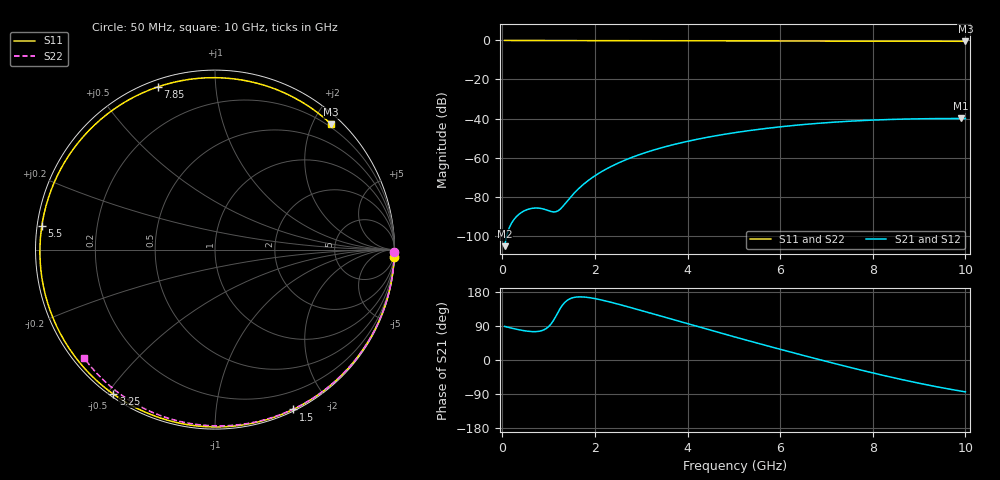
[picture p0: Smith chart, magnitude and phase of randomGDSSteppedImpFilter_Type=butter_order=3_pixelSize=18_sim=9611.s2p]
! freq	dB(S11)	phase(S11)	dB(S12)	phase(S12)
!  dB(S21)	phase(S21)	dB(S22)	phase(S22)
!S-par simulation data
#  GHz  S  DB  R 50
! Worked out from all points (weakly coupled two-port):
!   200 points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, 50 MHz to 10 GHz, reference 50 ohm
!   highest |S21| = -39.97 dB at 9.9 GHz (marker M1); lowest = -105.4 dB at 50 MHz (marker M2)
!   lowest |S11| = -0.4 dB at 10 GHz (marker M3), VSWR 40.92, Z = 7.61 + j114 ohm
!   |S11| at or under -10 dB: nowhere
!   |S22| runs from -0.5 to 0.0 dB; largest |S21 - S12| = 0
!   S11 on the Smith chart (normalised r, x): 50 MHz: 0, -51; 1.5 GHz: 0.02, -1.60; 3.25 GHz: 0.01, -0.52; 5.5 GHz: 0.01, +0.07; 7.85 GHz: 0.03, +0.71; 10 GHz: 0.15, +2.28
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0.05  -0.00 -2.3  -105.37 88.7  -105.37 88.7  -0.00 -0.8
0.35  -0.02 -15.6  -89.23 80.0  -89.23 80.0  -0.01 -5.7
0.7  -0.04 -30.8  -85.84 74.8  -85.84 74.8  -0.01 -11.3
1.1  -0.06 -47.8  -87.82 103.4  -87.82 103.4  -0.02 -17.7
1.5  -0.08 -64.0  -79.56 163.5  -79.56 163.5  -0.03 -24.1
1.75  -0.09 -73.7  -73.75 166.3  -73.75 166.3  -0.04 -28.0
2.05  -0.10 -84.9  -68.55 160.8  -68.55 160.8  -0.04 -32.7
2.4  -0.11 -97.4  -63.96 150.7  -63.96 150.7  -0.05 -38.1
2.8  -0.12 -110.8  -59.88 137.4  -59.88 137.4  -0.06 -44.2
3.25  -0.14 -125.1  -56.26 121.9  -56.26 121.9  -0.07 -51.0
3.4  -0.14 -129.7  -55.21 116.6  -55.21 116.6  -0.07 -53.2
4.2  -0.17 -152.9  -50.66 88.8  -50.66 88.8  -0.09 -64.9
5.05  -0.21 -176.0  -47.13 59.8  -47.13 59.8  -0.12 -76.9
5.5  -0.23 172.1  -45.64 44.7  -45.64 44.7  -0.13 -83.1
6.1  -0.26 156.4  -44.00 25.0  -44.00 25.0  -0.16 -91.2
6.7  -0.29 140.6  -42.67 5.7  -42.67 5.7  -0.19 -99.1
7.3  -0.32 124.5  -41.65 -13.1  -41.65 -13.1  -0.23 -106.8
7.85  -0.35 109.4  -40.94 -29.7  -40.94 -29.7  -0.27 -113.7
8.35  -0.37 95.4  -40.49 -44.0  -40.49 -44.0  -0.31 -119.9
9.1  -0.39 73.8  -40.09 -63.8  -40.09 -63.8  -0.38 -129.2
9.9  -0.42 50.1  -39.97 -82.0  -39.97 -82.0  -0.46 -138.9
10  -0.42 47.2  -39.97 -84.1  -39.97 -84.1  -0.47 -140.2
